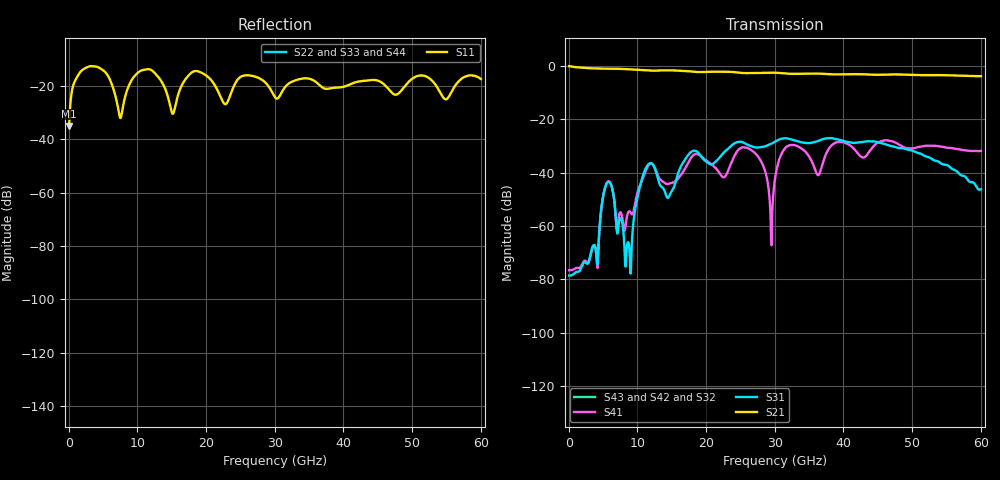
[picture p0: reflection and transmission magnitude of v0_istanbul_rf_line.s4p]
! TOUCHSTONE file generated by CST MICROWAVE STUDIO
! Date and time: Thu Nov  5 15:45:10 2026
! Project name: v0_istanbul_rf_line.cst
! Parameters = {LN_THICKNESS=0.000275; SILICON_THICKNESS=0.55}
! Header version: 2024
! Port assignment regex: !\s*Touchstone port\s*([0-9]+)\s*=\s*(CST MWS port|CST DES external port|CST DES block port)\s*(.+)\s* \(\"(.*)\"\)(\s*mode\s*([0-9]+))?.*
! Touchstone port assignment:
! Touchstone port 1 = CST MWS port 1 ("")
! Touchstone port 2 = CST MWS port 2 ("")
! Touchstone port 3 = CST MWS port 3 ("")
! Touchstone port 4 = CST MWS port 4 ("")
# GHz S MA R 50
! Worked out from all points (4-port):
!   1000 points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, 60 MHz to 60 GHz, reference 50 ohm
!   strongest paths, dB at 60 MHz, 15.06 GHz, 30.06 GHz, 45.06 GHz, 60 GHz:
!     S21: -0.1, -1.7, -2.6, -3.4, -3.9
!     S31: -78.5, -46.7, -28.4, -28.7, -46.2
!     S41: -76.5, -43.8, -41.8, -28.6, -31.9
!     S43: -, -, -, -, -
!     S42: -, -, -, -, -
!     S32: -, -, -, -, -
!   lowest |S11| = -35.0 dB at 60 MHz (marker M1), VSWR 1.04, Z = 51.4 + j1.06 ohm
!   |S11| at or under -10 dB: start of sweep to end of sweep
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0.06  0.01769 35.6  0 0.0  0 0.0  0 0.0
      0.9858 -1.8  0 0.0  0 0.0  0 0.0
      0.0001184 158.7  0 0.0  0 0.0  0 0.0
      0.0001491 -20.8  0 0.0  0 0.0  0 0.0
7.2  0.03717 -52.2  0 0.0  0 0.0  0 0.0
     0.8803 -173.1  0 0.0  0 0.0  0 0.0
     0.0009157 -17.4  0 0.0  0 0.0  0 0.0
     0.001271 173.3  0 0.0  0 0.0  0 0.0
11.58  0.2042 -16.2  0 0.0  0 0.0  0 0.0
       0.8242 83.5  0 0.0  0 0.0  0 0.0
       0.01427 -171.8  0 0.0  0 0.0  0 0.0
       0.01351 -172.0  0 0.0  0 0.0  0 0.0
18.18  0.1852 0.8  0 0.0  0 0.0  0 0.0
       0.7761 -71.4  0 0.0  0 0.0  0 0.0
       0.02569 -168.8  0 0.0  0 0.0  0 0.0
       0.02146 2.2  0 0.0  0 0.0  0 0.0
26.58  0.1542 -17.3  0 0.0  0 0.0  0 0.0
       0.7314 95.4  0 0.0  0 0.0  0 0.0
       0.03124 97.8  0 0.0  0 0.0  0 0.0
       0.02642 73.4  0 0.0  0 0.0  0 0.0
34.56  0.1377 -18.7  0 0.0  0 0.0  0 0.0
       0.7129 -89.5  0 0.0  0 0.0  0 0.0
       0.03589 43.0  0 0.0  0 0.0  0 0.0
       0.02387 -144.0  0 0.0  0 0.0  0 0.0
60  0.1334 -44.2  0 0.0  0 0.0  0 0.0
    0.6401 35.9  0 0.0  0 0.0  0 0.0
    0.004881 131.0  0 0.0  0 0.0  0 0.0
    0.02552 -43.7  0 0.0  0 0.0  0 0.0
